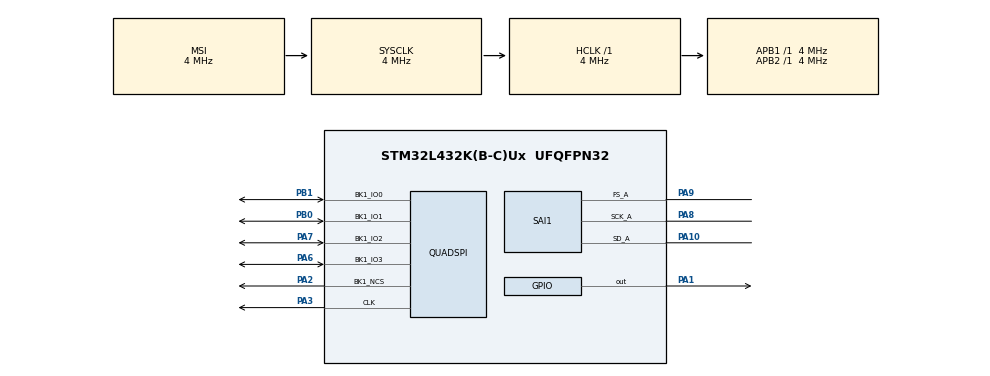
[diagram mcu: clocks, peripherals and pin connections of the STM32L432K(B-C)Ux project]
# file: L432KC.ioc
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Mcu.Family=STM32L4
Mcu.Name=STM32L432K(B-C)Ux
Mcu.Package=UFQFPN32
NVIC.PriorityGroup=NVIC_PRIORITYGROUP_4
PA1.Signal=GPIO_Output
PA10.Mode=SAI_A_Master
PA10.Signal=SAI1_SD_A
PA2.Mode=Single Bank 1
PA2.Signal=QUADSPI_BK1_NCS
PA3.Mode=Single Bank 1
PA3.Signal=QUADSPI_CLK
PA6.Mode=Single Bank 1
PA6.Signal=QUADSPI_BK1_IO3
PA7.GPIO_PuPd=GPIO_PULLUP
PA7.Mode=Single Bank 1
PA7.Signal=QUADSPI_BK1_IO2
PA8.Mode=SAI_A_Master
PA8.Signal=SAI1_SCK_A
PA9.Mode=SAI_A_Master
PA9.Signal=SAI1_FS_A
PB0.Mode=Single Bank 1
PB0.Signal=QUADSPI_BK1_IO1
PB1.Mode=Single Bank 1
PB1.Signal=QUADSPI_BK1_IO0
ProjectManager.HeapSize=0x200
ProjectManager.StackSize=0x400
ProjectManager.TargetToolchain=STM32CubeIDE
QUADSPI.ClockPrescaler=4
QUADSPI.FlashSize=23
QUADSPI.SampleShifting=QSPI_SAMPLE_SHIFTING_HALFCYCLE
RCC.ADCFreq_Value=32000000
RCC.AHBFreq_Value=4000000
RCC.APB1Freq_Value=4000000
RCC.APB1TimFreq_Value=4000000
RCC.APB2Freq_Value=4000000
RCC.APB2TimFreq_Value=4000000
RCC.CortexFreq_Value=4000000
RCC.HCLKFreq_Value=4000000
RCC.HSE_VALUE=8000000
RCC.HSI48_VALUE=48000000
RCC.HSI_VALUE=16000000
RCC.LSE_VALUE=32768
RCC.MSI_VALUE=4000000
RCC.PLLSAI1N=16
RCC.PLLSAI1P=RCC_PLLP_DIV16
RCC.SYSCLKFreq_VALUE=4000000
RCC.USBFreq_Value=32000000
RCC.VCOOutputFreq_Value=32000000
SAI1.AudioFrequency-SAI_A_Master=SAI_AUDIO_FREQUENCY_16K
SAI1.ErrorAudioFreq-SAI_A_Master=-2.34 %
SAI1.InitProtocol-SAI_A_Master=Enable
SAI1.Instance-SAI_A_Master=SAI$Index_Block_A
SAI1.MClockEnable-SAI_A_Master=SAI_MASTERCLOCK_DISABLE
SAI1.MonoStereoMode-SAI_A_Master=SAI_MONOMODE
SAI1.NoDivider-SAI_A_Master=SAI_MASTERDIVIDER_ENABLE
SAI1.RealAudioFreq-SAI_A_Master=15.625 KHz
SAI1.VirtualMode-SAI_A_Master=VM_MASTER
SAI1.VirtualProtocol-SAI_A_BASIC=VM_BASIC_PROTOCOL
VP_SAI1_VP_$IpInstance_SAIA_SAI_BASIC.Mode=SAI_A_BASIC
board=custom

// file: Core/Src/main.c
/* USER CODE BEGIN Header */
/**
  ******************************************************************************
  * @file           : main.c
  * @brief          : Main program body
  ******************************************************************************
  * @attention
  *
  * Copyright (c) 2025 STMicroelectronics.
  * All rights reserved.
  *
  * This software is licensed under terms that can be found in the LICENSE file
  * in the root directory of this software component.
  * If no LICENSE file comes with this software, it is provided AS-IS.
  *
  ******************************************************************************
  */
/* USER CODE END Header */
#include "main.h"

/* USER CODE BEGIN Includes */
#include <string.h>
#include "my_audio_data.h"
/* USER CODE END Includes */

QSPI_HandleTypeDef hqspi;

SAI_HandleTypeDef hsai_BlockA1;

/* USER CODE BEGIN PV */
// Example: A very simple 16-bit, 1kHz square wave at 16kHz sample rate
//#define SINE_BUFFER_SIZE 32
//int16_t sine_wave_buffer[SINE_BUFFER_SIZE] = {
//     30000,  30000,  30000,  30000,  30000,  30000,  30000,  30000,
//     30000,  30000,  30000,  30000,  30000,  30000,  30000,  30000,
//    -30000, -30000, -30000, -30000, -30000, -30000, -30000, -30000,
//    -30000, -30000, -30000, -30000, -30000, -30000, -30000, -30000
//};
/* USER CODE END PV */

void SystemClock_Config(void);
static void MX_GPIO_Init(void);
static void MX_SAI1_Init(void);
static void MX_QUADSPI_Init(void);

/* USER CODE BEGIN 0 */

// This handle is declared by CubeMX in main.c
extern QSPI_HandleTypeDef hqspi;

uint8_t QSPI_ReadStatusRegister(uint8_t reg_num)
{
  QSPI_CommandTypeDef sCommand;
  uint8_t reg_val;
  uint8_t instruction = 0x05; // Default to Read Status Reg 1

  if (reg_num == 2) {
    instruction = 0x35; // Read Status Reg 2
  } else if (reg_num == 3) {
    instruction = 0x15; // Read Status Reg 3
  }

  sCommand.InstructionMode   = QSPI_INSTRUCTION_1_LINE;
  sCommand.Instruction       = instruction;
  sCommand.AddressMode       = QSPI_ADDRESS_NONE;
  sCommand.AlternateByteMode = QSPI_ALTERNATE_BYTES_NONE;
  sCommand.DataMode          = QSPI_DATA_1_LINE;
  sCommand.DummyCycles       = 0;
  sCommand.NbData            = 1;
  sCommand.DdrMode           = QSPI_DDR_MODE_DISABLE;
  sCommand.DdrHoldHalfCycle  = QSPI_DDR_HHC_ANALOG_DELAY;
  sCommand.SIOOMode          = QSPI_SIOO_INST_EVERY_CMD;

  if (HAL_QSPI_Command(&hqspi, &sCommand, HAL_QPSI_TIMEOUT_DEFAULT_VALUE) != HAL_OK)
  {
    Error_Handler();
  }
  if (HAL_QSPI_Receive(&hqspi, &reg_val, HAL_QPSI_TIMEOUT_DEFAULT_VALUE) != HAL_OK)
  {
    Error_Handler();
  }

  return reg_val;
}

/**
  * @brief  This function sends a Write Enable command (0x06)
  */
static void QSPI_WriteEnable(void)
{
  QSPI_CommandTypeDef sCommand;

  sCommand.InstructionMode   = QSPI_INSTRUCTION_1_LINE;
  sCommand.Instruction       = 0x06; // Write Enable
  sCommand.AddressMode       = QSPI_ADDRESS_NONE;
  sCommand.AlternateByteMode = QSPI_ALTERNATE_BYTES_NONE;
  sCommand.DataMode          = QSPI_DATA_NONE;
  sCommand.DummyCycles       = 0;
  sCommand.DdrMode           = QSPI_DDR_MODE_DISABLE;
  sCommand.DdrHoldHalfCycle  = QSPI_DDR_HHC_ANALOG_DELAY;
  sCommand.SIOOMode          = QSPI_SIOO_INST_EVERY_CMD;

  if (HAL_QSPI_Command(&hqspi, &sCommand, HAL_QPSI_TIMEOUT_DEFAULT_VALUE) != HAL_OK)
  {
    Error_Handler();
  }
}

/**
  * @brief  This function polls the flash's "Write in Progress" (WIP) bit.
  * It will not return until the flash is ready for new commands.
  */
static void QSPI_AutoPoll_WIP(void)
{
  QSPI_CommandTypeDef sCommand;
  QSPI_AutoPollingTypeDef sPoll;

  // Configure the command to read Status Register 1 (0x05)
  sCommand.InstructionMode   = QSPI_INSTRUCTION_1_LINE;
  sCommand.Instruction       = 0x05; // Read Status Register 1
  sCommand.AddressMode       = QSPI_ADDRESS_NONE;
  sCommand.AlternateByteMode = QSPI_ALTERNATE_BYTES_NONE;
  sCommand.DataMode          = QSPI_DATA_1_LINE;
  sCommand.DummyCycles       = 0;
  //... (other settings don't matter for this command)

  // Configure the polling
  sPoll.Mask           = 0x01; // Mask to check only the WIP bit (bit 0)
  sPoll.Match          = 0x00; // We wait until the WIP bit is 0
  sPoll.MatchMode      = QSPI_MATCH_MODE_AND;
  sPoll.StatusBytesSize= 1;
  sPoll.Interval       = 0x10;
  sPoll.AutomaticStop  = QSPI_AUTOMATIC_STOP_ENABLE;

  if (HAL_QSPI_AutoPolling(&hqspi, &sCommand, &sPoll, HAL_QPSI_TIMEOUT_DEFAULT_VALUE) != HAL_OK)
  {
    Error_Handler();
  }
}

/**
  * @brief  Erases a 4KB sector of the flash at a given address
  */
static void QSPI_SectorErase(uint32_t SectorAddress)
{
  QSPI_CommandTypeDef sCommand;

  // 1. Send Write Enable
  QSPI_WriteEnable();

  // 2. Configure the Sector Erase command (0x20)
  sCommand.InstructionMode   = QSPI_INSTRUCTION_1_LINE;
  sCommand.Instruction       = 0x20; // Sector Erase
  sCommand.AddressMode       = QSPI_ADDRESS_1_LINE;
  sCommand.AddressSize       = QSPI_ADDRESS_24_BITS;
  sCommand.Address           = SectorAddress;
  sCommand.AlternateByteMode = QSPI_ALTERNATE_BYTES_NONE;
  sCommand.DataMode          = QSPI_DATA_NONE;
  sCommand.DummyCycles       = 0;
  //... (other settings)

  // 3. Send the command
  if (HAL_QSPI_Command(&hqspi, &sCommand, HAL_QPSI_TIMEOUT_DEFAULT_VALUE) != HAL_OK)
  {
    Error_Handler();
  }

  // 4. Wait for the erase to finish (can take ~45ms)
  QSPI_AutoPoll_WIP();
}

// We'll need these helper functions from your previous test
extern void QSPI_WriteEnable(void);
extern void QSPI_AutoPoll_WIP(void);

/**
  * @brief  Enables Quad SPI mode on the W25Q128.
  * It does this by setting the "QE" bit in Status Register 2.
  */
static void QSPI_EnableQuadMode(void)
{
    QSPI_CommandTypeDef sCommand;
    uint8_t reg_data = 0x02; // 0x02 is the value to set the QE bit
    uint8_t status_reg_1;

    // 1. Send Write Enable
    QSPI_WriteEnable();

    // ----------------- DEBUG CHECK -----------------
    // Read back Status Register 1 immediately
    status_reg_1 = QSPI_ReadStatusRegister(1);

    // The WEL bit (bit 1) MUST be set. The value should be 0x02.
    // (Bit 0 is WIP, should be 0. Bit 1 is WEL, should be 1)
    if (status_reg_1 != 0x02)
    {
      // If you land here, the Write Enable command FAILED.
      // The chip ignored it. Check the reasons below.
      Error_Handler();
    }
    // -----------------------------------------------

    // 2. Configure the "Write Status Register 2" command (0x31)
    sCommand.InstructionMode   = QSPI_INSTRUCTION_1_LINE;
    sCommand.Instruction       = 0x31; // Write Status Register 2
    // ... (rest of the command config) ...

    if (HAL_QSPI_Command(&hqspi, &sCommand, HAL_QPSI_TIMEOUT_DEFAULT_VALUE) != HAL_OK)
    {
        Error_Handler();
    }

    // 3. Send the 0x02 byte
    if (HAL_QSPI_Transmit(&hqspi, &reg_data, HAL_QPSI_TIMEOUT_DEFAULT_VALUE) != HAL_OK)
    {
    // This is where you are failing.
        Error_Handler();
    }

    // 4. Wait for the write to finish
    QSPI_AutoPoll_WIP();
}

/* USER CODE END 0 */

int main(void)
{

  /* MCU Configuration--------------------------------------------------------*/

  /* Reset of all peripherals, Initializes the Flash interface and the Systick. */
  HAL_Init();

  /* Configure the system clock */
  SystemClock_Config();

  /* Initialize all configured peripherals */
  MX_GPIO_Init();
  MX_SAI1_Init();
  MX_QUADSPI_Init();

  /* USER CODE BEGIN 2 */

    uint8_t status;

    // 1. Check initial status
    status = QSPI_ReadStatusRegister(1);
    // Place breakpoint here: 'status' should be 0x00

    // 2. Try to enable write
    QSPI_WriteEnable();

    // 3. Check if Write Enable Latch (WEL) bit is set
    status = QSPI_ReadStatusRegister(1);
    // Place breakpoint here: 'status' MUST be 0x02.
    // The WEL bit (bit 1) must be 1.
    //
    // If 'status' is still 0x00, your Write Enable command failed.
    // This confirms write protection (either HW pin or SW bits).

    if ((status & 0x02) == 0)
    {
      // WEL bit is NOT set. Write Enable failed.
      // Most likely HW /WP pin is LOW or SW protection is on.
      Error_Handler();
    }

//    // --- If you get here, Write Enable worked ---
//
//    // 4. Now, try to send the erase command (this is part of QSPI_SectorErase)
//    QSPI_CommandTypeDef sEraseCommand;
//    sEraseCommand.InstructionMode   = QSPI_INSTRUCTION_1_LINE;
//    sEraseCommand.Instruction       = 0x20; // Sector Erase
//    sEraseCommand.AddressMode       = QSPI_ADDRESS_1_LINE;
//    sEraseCommand.AddressSize       = QSPI_ADDRESS_24_BITS;
//    sEraseCommand.Address           = 0x000000; // The address you want to erase
//    sEraseCommand.AlternateByteMode = QSPI_ALTERNATE_BYTES_NONE;
//    sEraseCommand.DataMode          = QSPI_DATA_NONE;
//    sEraseCommand.DummyCycles       = 0;
//    //... (other settings)
//
//    if (HAL_QSPI_Command(&hqspi, &sEraseCommand, HAL_QPSI_TIMEOUT_DEFAULT_VALUE) != HAL_OK)
//    {
//      Error_Handler();
//    }
//
//    // 5. Check if the Write in Progress (WIP) bit is now set
//    status = QSPI_ReadStatusRegister(1);
//    // Place breakpoint here: 'status' MUST be 0x01 or 0x03.
//    // The WIP bit (bit 0) must be 1, showing the erase has started.
//    // The WEL bit (bit 1) will be auto-cleared back to 0.
//
//    if ((status & 0x01) == 0)
//    {
//      // WIP bit is NOT set. The flash ignored the erase command.
//      // This confirms write protection.
//      Error_Handler();
//    }
//
//    // 6. Now, try to poll for completion
//    QSPI_AutoPoll_WIP();
//
//    // 7. Check if WIP bit is clear
//    status = QSPI_ReadStatusRegister(1);
//    // Place breakpoint here: 'status' should be 0x00.
//    // This proves the erase finished and polling worked.
//
//    if (status != 0x00)
//    {
//      // Polling failed
//      Error_Handler();
//    }

    QSPI_EnableQuadMode();

      // --- Step 2: Configure and Enable Memory-Mapped Mode ---

      QSPI_CommandTypeDef sCommand;
      QSPI_MemoryMappedTypeDef sMemMappedCfg;

      // Configure the "Fast Read Quad Output" command (0x6B)
      // This is the command the QSPI hardware will auto-send
      // when you read from 0x90000000.

      sCommand.InstructionMode   = QSPI_INSTRUCTION_1_LINE;
      sCommand.Instruction       = 0x6B;                      // Fast Read Quad Output
      sCommand.AddressMode       = QSPI_ADDRESS_1_LINE;
      sCommand.AddressSize       = QSPI_ADDRESS_24_BITS;    // 16MB chip = 24-bit address
      sCommand.AlternateByteMode = QSPI_ALTERNATE_BYTES_NONE;
      sCommand.DataMode          = QSPI_DATA_4_LINES;       // *** This is the "Quad" part! ***
      sCommand.DummyCycles       = 8;                         // W25Q128 needs 8 dummies for 0x6B
      sCommand.DdrMode           = QSPI_DDR_MODE_DISABLE;
      sCommand.DdrHoldHalfCycle  = QSPI_DDR_HHC_ANALOG_DELAY;
      sCommand.SIOOMode          = QSPI_SIOO_INST_EVERY_CMD;

      // Configure the memory-mapped struct
      sMemMappedCfg.TimeOutActivation = QSPI_TIMEOUT_COUNTER_DISABLE; // No timeout

      // Enable memory-mapping!
      if (HAL_QSPI_MemoryMapped(&hqspi, &sCommand, &sMemMappedCfg) != HAL_OK)
      {
        // Failed to enter memory-mapped mode
        Error_Handler();
      }

      __NOP(); // Success breakpoint

      volatile uint8_t* p_flash = (volatile uint8_t*)0x90000000;

        uint8_t read_data[3];

        // Read the data just like a normal array
        // For each read, the QSPI hardware does the *full* 0x6B command
        // automatically in the background.
        read_data[0] = p_flash[0];
        read_data[1] = p_flash[1];
        read_data[2] = p_flash[2];

        // --- Step 4: Check the results ---
        if (read_data[0] == 0x00 && read_data[1] == 0x01 && read_data[2] == 0x02)
        {
          // Success!
          __NOP(); // Place breakpoint here
        }
        else
        {
          // Failure!
          // 1. Check your QE bit function.
          // 2. Check your 0x6B command settings (especially DummyCycles).
          // 3. Check your IO2 and IO3 wiring.
          Error_Handler();
        }

  /* USER CODE END 2 */

  /* Infinite loop */
  /* USER CODE BEGIN WHILE */
  while (1)
  {
      // new
      // The size is in 16-bit words,
      // but our size variable is in 8-bit bytes, so divide by 2.
      // https://community.st.com/t5/stm32-mcus-products/hal-sai-transmit-does-not-stop-the-i2s-clocks-when-complete/m-p/177117/highlight/true#M36926
      uint16_t audio_samples_count = g_nosoup_data_size / 2;

      // This function will block until the entire buffer is sent
//      HAL_SAI_Transmit(&hsai_BlockA1, (uint8_t*)g_nosoup_data, audio_samples_count, HAL_MAX_DELAY);

//      HAL_GPIO_WritePin(GPIOA, GPIO_PIN_1, GPIO_PIN_SET);
//      HAL_Delay(1000);
//      HAL_GPIO_WritePin(GPIOA, GPIO_PIN_1, GPIO_PIN_RESET);
//      HAL_Delay(1000);

//      HAL_SuspendTick();
//      HAL_PWREx_EnterSTOP1Mode(PWR_SLEEPENTRY_WFI); // Stop2 Mode
//
//      HAL_ResumeTick();
//
//      // 5. Clear the Wake-up Source
//      __HAL_GPIO_EXTI_CLEAR_FLAG(GPIO_PIN_13); // Clear the EXTI Flag
//
//      // Wait a moment to ensure the user fully released the button (debounce)
//      HAL_Delay(200);
    /* USER CODE END WHILE */

  }
}

void SystemClock_Config(void)
{
  RCC_OscInitTypeDef RCC_OscInitStruct = {0};
  RCC_ClkInitTypeDef RCC_ClkInitStruct = {0};

  /** Configure the main internal regulator output voltage
  */
  if (HAL_PWREx_ControlVoltageScaling(PWR_REGULATOR_VOLTAGE_SCALE1) != HAL_OK)
  {
    Error_Handler();
  }

  /** Initializes the RCC Oscillators according to the specified parameters
  * in the RCC_OscInitTypeDef structure.
  */
  RCC_OscInitStruct.OscillatorType = RCC_OSCILLATORTYPE_MSI;
  RCC_OscInitStruct.MSIState = RCC_MSI_ON;
  RCC_OscInitStruct.MSICalibrationValue = 0;
  RCC_OscInitStruct.MSIClockRange = RCC_MSIRANGE_6;
  RCC_OscInitStruct.PLL.PLLState = RCC_PLL_NONE;
  if (HAL_RCC_OscConfig(&RCC_OscInitStruct) != HAL_OK)
  {
    Error_Handler();
  }

  /** Initializes the CPU, AHB and APB buses clocks
  */
  RCC_ClkInitStruct.ClockType = RCC_CLOCKTYPE_HCLK|RCC_CLOCKTYPE_SYSCLK
                              |RCC_CLOCKTYPE_PCLK1|RCC_CLOCKTYPE_PCLK2;
  RCC_ClkInitStruct.SYSCLKSource = RCC_SYSCLKSOURCE_MSI;
  RCC_ClkInitStruct.AHBCLKDivider = RCC_SYSCLK_DIV1;
  RCC_ClkInitStruct.APB1CLKDivider = RCC_HCLK_DIV1;
  RCC_ClkInitStruct.APB2CLKDivider = RCC_HCLK_DIV1;

  if (HAL_RCC_ClockConfig(&RCC_ClkInitStruct, FLASH_LATENCY_0) != HAL_OK)
  {
    Error_Handler();
  }
}

static void MX_QUADSPI_Init(void)
{

  /* QUADSPI parameter configuration*/
  hqspi.Instance = QUADSPI;
  hqspi.Init.ClockPrescaler = 4;
  hqspi.Init.FifoThreshold = 1;
  hqspi.Init.SampleShifting = QSPI_SAMPLE_SHIFTING_HALFCYCLE;
  hqspi.Init.FlashSize = 23;
  hqspi.Init.ChipSelectHighTime = QSPI_CS_HIGH_TIME_1_CYCLE;
  hqspi.Init.ClockMode = QSPI_CLOCK_MODE_0;
  hqspi.Init.FlashID = QSPI_FLASH_ID_1;
  hqspi.Init.DualFlash = QSPI_DUALFLASH_DISABLE;
  if (HAL_QSPI_Init(&hqspi) != HAL_OK)
  {
    Error_Handler();
  }

}

static void MX_SAI1_Init(void)
{

  hsai_BlockA1.Instance = SAI1_Block_A;
  hsai_BlockA1.Init.AudioMode = SAI_MODEMASTER_TX;
  hsai_BlockA1.Init.Synchro = SAI_ASYNCHRONOUS;
  hsai_BlockA1.Init.OutputDrive = SAI_OUTPUTDRIVE_DISABLE;
  hsai_BlockA1.Init.NoDivider = SAI_MASTERDIVIDER_ENABLE;
  hsai_BlockA1.Init.FIFOThreshold = SAI_FIFOTHRESHOLD_EMPTY;
  hsai_BlockA1.Init.AudioFrequency = SAI_AUDIO_FREQUENCY_16K;
  hsai_BlockA1.Init.SynchroExt = SAI_SYNCEXT_DISABLE;
  hsai_BlockA1.Init.MonoStereoMode = SAI_MONOMODE;
  hsai_BlockA1.Init.CompandingMode = SAI_NOCOMPANDING;
  hsai_BlockA1.Init.TriState = SAI_OUTPUT_NOTRELEASED;
  if (HAL_SAI_InitProtocol(&hsai_BlockA1, SAI_I2S_STANDARD, SAI_PROTOCOL_DATASIZE_16BIT, 2) != HAL_OK)
  {
    Error_Handler();
  }

}

static void MX_GPIO_Init(void)
{
  GPIO_InitTypeDef GPIO_InitStruct = {0};

  /* GPIO Ports Clock Enable */
  __HAL_RCC_GPIOA_CLK_ENABLE();
  __HAL_RCC_GPIOB_CLK_ENABLE();

  /*Configure GPIO pin Output Level */
  HAL_GPIO_WritePin(GPIOA, GPIO_PIN_1, GPIO_PIN_RESET);

  /*Configure GPIO pin : PA1 */
  GPIO_InitStruct.Pin = GPIO_PIN_1;
  GPIO_InitStruct.Mode = GPIO_MODE_OUTPUT_PP;
  GPIO_InitStruct.Pull = GPIO_NOPULL;
  GPIO_InitStruct.Speed = GPIO_SPEED_FREQ_LOW;
  HAL_GPIO_Init(GPIOA, &GPIO_InitStruct);

}

void Error_Handler(void)
{
  __disable_irq();
  while (1)
  {
  }
}
